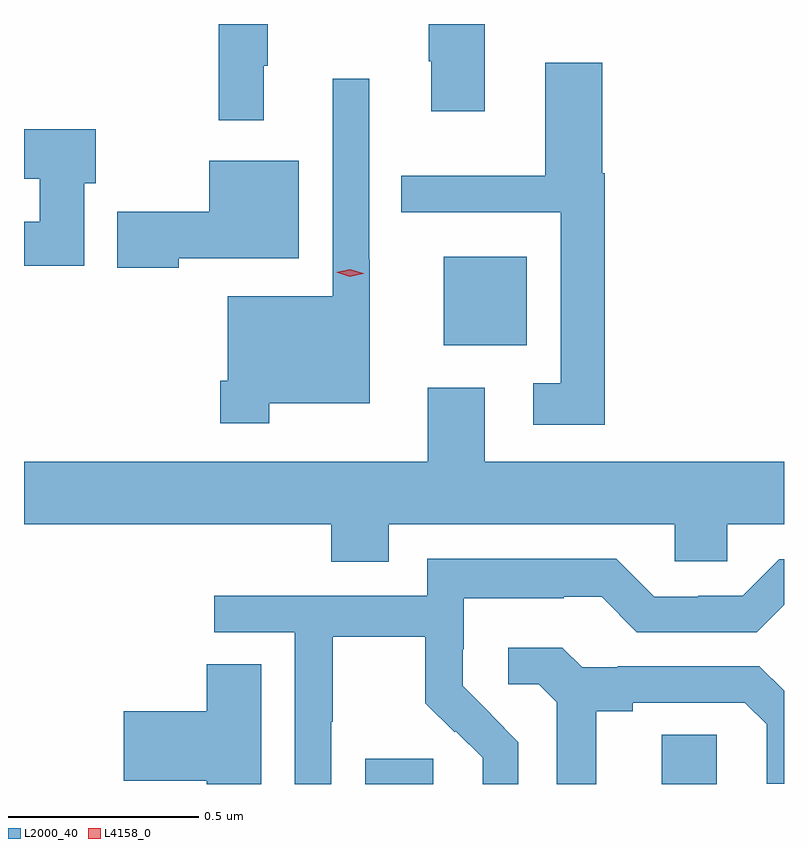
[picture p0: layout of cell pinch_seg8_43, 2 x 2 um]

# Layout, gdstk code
import gdstk
lib = gdstk.Library(unit=1e-6, precision=1e-09)
def R(c, l, rs):  # rectangles x0, y0, x1, y1
    for r in rs: c.add(gdstk.rectangle(r[:2], r[2:], *l))
def P(c, l, *ps):  # polygons
    for p in ps: c.add(gdstk.Polygon(p, *l))
L2000_40 = (2000, 40)
L4158_0 = (4158, 0)

pinch_seg8_43 = lib.new_cell('pinch_seg8_43')
R(pinch_seg8_43, L2000_40, [(902.141,1155.776,902.32,1155.843), (902.921,1155.776,903.066,1155.905), (902.348,1156.931,902.566,1157.164)])
P(pinch_seg8_43, L2000_40, [(902.455,1157.776),(902.308,1157.776),(902.308,1157.678),(902.315,1157.678),(902.315,1157.547),(902.455,1157.547)],
  [(901.874,1157.666),(901.885,1157.666),(901.885,1157.776),(901.756,1157.776),(901.756,1157.523),(901.874,1157.523)],
  [(902.771,1157.383),(902.765,1157.383),(902.765,1157.674),(902.615,1157.674),(902.615,1157.377),(902.236,1157.377),(902.236,1157.28),(902.655,1157.28),(902.655,1156.831),(902.583,1156.831),(902.583,1156.722),(902.771,1156.722)],
  [(901.888,1156.778),(902.153,1156.778),(902.153,1157.155),(902.151,1157.155),(902.151,1157.632),(902.055,1157.632),(902.055,1157.059),(901.779,1157.059),(901.779,1156.837),(901.759,1156.837),(901.759,1156.725),(901.888,1156.725)],
  [(901.401,1157.357),(901.432,1157.357),(901.432,1157.499),(901.243,1157.499),(901.243,1157.369),(901.285,1157.369),(901.285,1157.256),(901.243,1157.256),(901.243,1157.14),(901.401,1157.14)],
  [(901.65,1157.159),(901.966,1157.159),(901.966,1157.416),(901.73,1157.416),(901.73,1157.282),(901.488,1157.282),(901.488,1157.135),(901.65,1157.135)],
  [(902.203,1156.46),(902.955,1156.46),(902.955,1156.362),(903.093,1156.362),(903.093,1156.46),(903.243,1156.46),(903.243,1156.624),(902.455,1156.624),(902.455,1156.819),(902.306,1156.819),(902.306,1156.624),(901.243,1156.624),(901.243,1156.46),(902.051,1156.46),(902.051,1156.361),(902.203,1156.361)],
  [(902.052,1155.94),(902.055,1155.94),(902.055,1156.164),(902.299,1156.164),(902.299,1155.989),(902.376,1155.912),(902.379,1155.915),(902.45,1155.845),(902.45,1155.776),(902.544,1155.776),(902.544,1155.886),(902.471,1155.959),(902.472,1155.96),(902.398,1156.034),(902.398,1156.131),(902.4,1156.131),(902.4,1156.265),(902.663,1156.265),(902.663,1156.269),(902.763,1156.269),(902.856,1156.176),(903.171,1156.176),(903.243,1156.248),(903.243,1156.368),(903.231,1156.368),(903.135,1156.272),(903.017,1156.272),(903.017,1156.269),(902.901,1156.269),(902.801,1156.369),(902.304,1156.369),(902.304,1156.272),(901.743,1156.272),(901.743,1156.176),(901.956,1156.176),(901.956,1155.776),(902.052,1155.776)],
  [(902.749,1155.968),(902.845,1155.968),(902.845,1155.99),(903.14,1155.99),(903.197,1155.933),(903.197,1155.777),(903.243,1155.777),(903.243,1156.021),(903.178,1156.086),(902.806,1156.086),(902.806,1156.083),(902.712,1156.083),(902.66,1156.135),(902.517,1156.135),(902.517,1156.038),(902.598,1156.038),(902.645,1155.991),(902.645,1155.776),(902.749,1155.776)],
  [(901.867,1156.091),(901.724,1156.091),(901.724,1155.968),(901.506,1155.968),(901.506,1155.785),(901.724,1155.785),(901.724,1155.776),(901.867,1155.776)])
P(pinch_seg8_43, L4158_0, [(902.1,1157.111),(902.065,1157.123),(902.065,1157.123),(902.065,1157.123),(902.101,1157.131),(902.136,1157.12),(902.137,1157.12),(902.136,1157.119)])

lib.write_gds('pinch_seg8_43.gds')
